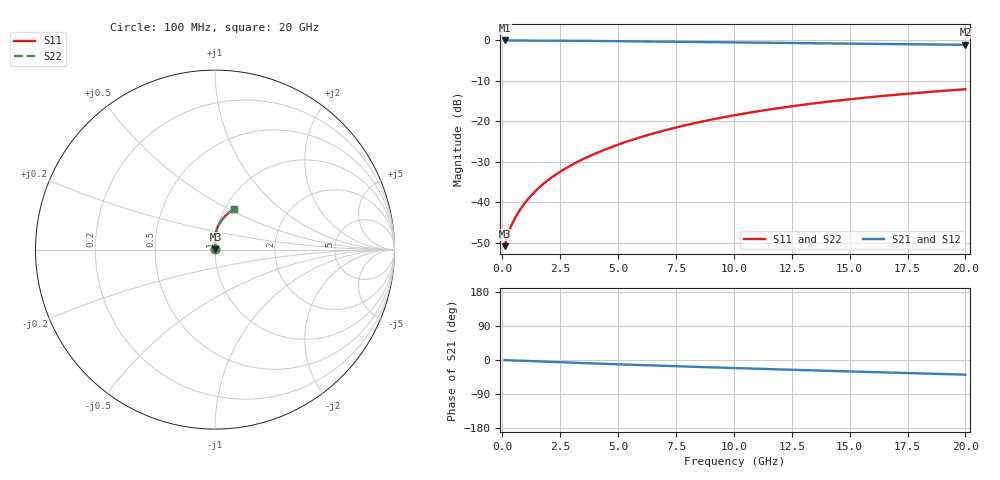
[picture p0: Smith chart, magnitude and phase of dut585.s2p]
! Touchstone file exported from HFSS 2024.1.0
!  File:  C:/UserFiles/LocalFiles/RDL_TSV_Batchsim/temp_RDL_top_585_1779682268.aedt
!  Generated:  12:12:54 PM May 25, 2026
!  Design:  RDL_top
!  Project:  temp_RDL_top_585_1779682268
!  Setup:  Setup1
!  Solution:  Sweep
! Variables:
!  dtsv = 10.80580581um
!  hbump = 3um
!  htsv = 96.09um
!  ldown = 100um
!  lrdl = 632.75um
!  p = 40
!  p1 = 40.45um
!  rhole = 1um
!  t = 450um
!  tdown = 3.915915916um
!  trdl = 3.74um
!  wdown = 15.38538539um
!  wrdl = 25.67um
# GHz S MA R 50.000000
! Terminal data exported
! Port[1] = Box2_T1
! Port[2] = Box2_T2
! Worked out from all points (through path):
!   200 points, 100 MHz to 20 GHz, reference 50 ohm
!   highest |S21| = -0.02 dB at 100 MHz (marker M1); lowest = -1.1 dB at 20 GHz (marker M2)
!   group delay of S21, straight-line fit = 5.3 ps
!   lowest |S11| = -50.8 dB at 100 MHz (marker M3), VSWR 1.01, Z = 50.3 + j0.124 ohm
!   |S11| at or under -10 dB: start of sweep to end of sweep
!   |S22| runs from -50.8 to -12.1 dB; largest |S21 - S12| = 3.1e-15
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0.1  0.002868 25.5  0.9974 -0.3  0.9974 -0.3  0.002868 25.5
! Gamma 0 0 0 0
! Port Impedance 50 0 50 0
0.2  0.003643 39.7  0.9971 -0.5  0.9971 -0.5  0.003643 39.7
0.3  0.004448 47.5  0.9969 -0.7  0.9969 -0.7  0.004448 47.5
0.4  0.005224 53.0  0.9967 -1.0  0.9967 -1.0  0.005224 53.0
0.5  0.005988 57.4  0.9965 -1.2  0.9965 -1.2  0.005988 57.4
0.8  0.008347 66.8  0.9959 -1.9  0.9959 -1.9  0.008347 66.8
1  0.01 71.1  0.9956 -2.4  0.9956 -2.4  0.01 71.1
1.2  0.01171 74.3  0.9951 -2.8  0.9951 -2.8  0.01171 74.3
1.7  0.01619 79.8  0.9938 -4.0  0.9938 -4.0  0.01619 79.8
2.2  0.02091 83.2  0.9921 -5.1  0.9921 -5.1  0.02091 83.2
2.8  0.02688 85.9  0.9897 -6.5  0.9897 -6.5  0.02688 85.9
3.5  0.03425 87.8  0.9862 -8.1  0.9862 -8.1  0.03425 87.8
4.2  0.04206 88.9  0.9823 -9.6  0.9823 -9.6  0.04206 88.9
5  0.05151 89.5  0.9773 -11.3  0.9773 -11.3  0.05149 89.4
5.9  0.06271 89.4  0.9714 -13.2  0.9714 -13.2  0.0627 89.4
6.8  0.07443 88.8  0.9652 -15.0  0.9652 -15.0  0.07441 88.8
8.4  0.09616 86.9  0.954 -18.2  0.954 -18.2  0.09612 86.8
10.1  0.1199 84.1  0.9423 -21.4  0.9423 -21.4  0.1198 84.0
11.7  0.1423 81.1  0.9316 -24.3  0.9316 -24.3  0.1422 81.0
13.4  0.1657 77.7  0.9205 -27.4  0.9205 -27.4  0.1656 77.6
16.7  0.2092 71.1  0.9001 -33.1  0.9001 -33.1  0.209 71.0
20  0.249 64.7  0.8807 -38.7  0.8807 -38.7  0.2488 64.6
